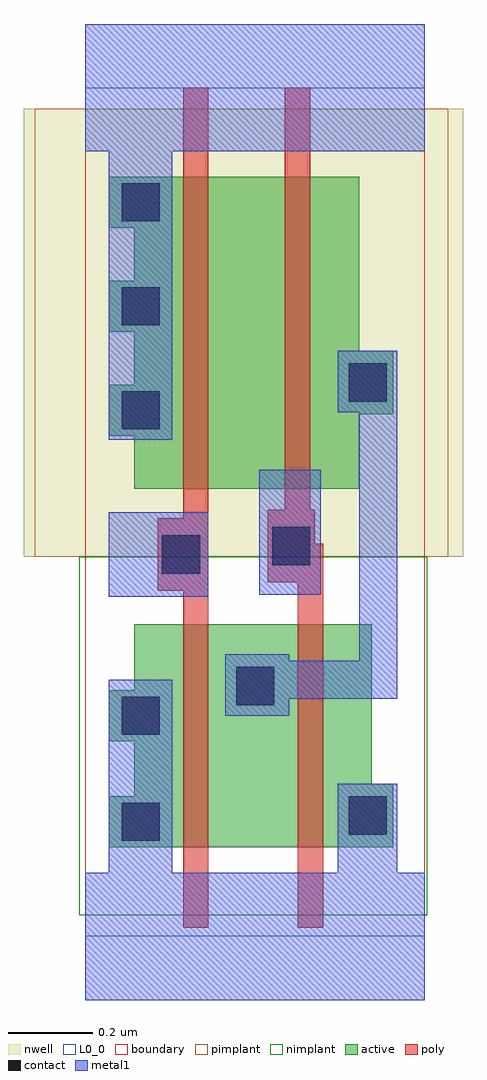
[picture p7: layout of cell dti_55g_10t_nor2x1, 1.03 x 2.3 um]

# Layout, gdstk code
from math import pi, radians
import gdstk
lib = gdstk.Library(unit=1e-6, precision=1e-09)
def R(c, l, rs):  # rectangles x0, y0, x1, y1
    for r in rs: c.add(gdstk.rectangle(r[:2], r[2:], *l))
L0_0 = (0, 0)
nwell = (3, 0)
active = (6, 0)
poly = (17, 0)
pimplant = (25, 0)
nimplant = (26, 0)
contact = (30, 0)
metal1 = (31, 0)
boundary = (108, 0)
L923_0 = (923, 0)

template_55g_10t = lib.new_cell('template_55g_10t')
R(template_55g_10t, metal1, [(0,-0.15,0.2,0.15), (0,1.85,0.2,2.15)])
template_55g_10t.add(gdstk.FlexPath([(0.2,0.21),(0,0.21)], 0, ends="flush", simple_path=True, layer=923, datatype=0))  # L923_0
template_55g_10t.add(gdstk.FlexPath([(0.2,0.735),(0,0.735)], 0, ends="flush", simple_path=True, layer=923, datatype=0))  # L923_0
template_55g_10t.add(gdstk.FlexPath([(0.2,0.895),(0,0.895)], 0, ends="flush", simple_path=True, layer=923, datatype=0))  # L923_0
template_55g_10t.add(gdstk.FlexPath([(0.2,1.055),(0,1.055)], 0, ends="flush", simple_path=True, layer=923, datatype=0))  # L923_0
template_55g_10t.add(gdstk.FlexPath([(0.2,1.79),(0,1.79)], 0, ends="flush", simple_path=True, layer=923, datatype=0))  # L923_0

cellgrid_nom2 = lib.new_cell('cellgrid_noM2')
R(cellgrid_nom2, L0_0, [(0,0,0.2,0.2)])
cellgrid_nom2.add(gdstk.FlexPath([(0.2,0),(0,0.2)], 0, ends="flush", simple_path=True, layer=0, datatype=0))  # L0_0
cellgrid_nom2.add(gdstk.FlexPath([(0.2,0.2),(0,0)], 0, ends="flush", simple_path=True, layer=0, datatype=0))  # L0_0

pmos_735_n_2 = lib.new_cell('pmos_735_n_2')
R(pmos_735_n_2, nwell, [(-0.275,-0.16,0.335,0.895)])
R(pmos_735_n_2, active, [(-0.115,0,0.175,0.735)])
R(pmos_735_n_2, poly, [(0,-0.14,0.06,0.875)])
R(pmos_735_n_2, pimplant, [(-0.245,-0.16,0.305,0.895)])

nmos_525_n_2 = lib.new_cell('nmos_525_n_2')
R(nmos_525_n_2, active, [(-0.115,0,0.175,0.525)])
R(nmos_525_n_2, poly, [(0,-0.14,0.06,0.665)])
R(nmos_525_n_2, nimplant, [(-0.245,-0.16,0.305,0.685)])

cnt_n = lib.new_cell('cnt_n')
R(cnt_n, active, [(-0.06,-0.075,0.06,0.075)])
R(cnt_n, contact, [(-0.045,-0.045,0.045,0.045)])
R(cnt_n, metal1, [(-0.045,-0.045,0.045,0.045)])

cnt = lib.new_cell('cnt')
R(cnt, contact, [(-0.045,-0.045,0.045,0.045)])
R(cnt, metal1, [(-0.045,-0.045,0.045,0.045)])

pcnt_v = lib.new_cell('pcnt_v')
R(pcnt_v, poly, [(-0.055,-0.085,0.055,0.085)])
pcnt_v.add(gdstk.Reference(cnt, (0,0)))

dti_55g_10t_nor2x1 = lib.new_cell('dti_55g_10t_nor2x1')
R(dti_55g_10t_nor2x1, nwell, [(-0.145,0.895,0.89,1.95)])
R(dti_55g_10t_nor2x1, poly, [(0.23,0.02,0.29,0.07), (0.5,0.02,0.56,0.07), (0.23,0.875,0.29,0.915), (0.47,0.875,0.56,0.925), (0.23,1.93,0.29,2), (0.47,1.93,0.53,2)])
R(dti_55g_10t_nor2x1, pimplant, [(-0.12,0.895,0.855,1.95)])
R(dti_55g_10t_nor2x1, metal1, [(0.055,0.15,0.205,0.605), (0.595,0.15,0.735,0.36), (0.33,0.52,0.48,0.665), (0.48,0.56,0.735,0.65), (0.645,0.65,0.735,1.235), (0.055,0.8,0.29,1), (0.41,0.805,0.555,1.1), (0.055,1.17,0.205,1.85), (0.595,1.235,0.735,1.38)])
R(dti_55g_10t_nor2x1, boundary, [(0,-0.15,0.8,2.15)])
r = gdstk.Reference(template_55g_10t, (0,0)); r.repetition = gdstk.Repetition(4, 1, v1=(0.2,0), v2=(0,0)); dti_55g_10t_nor2x1.add(r)
r = gdstk.Reference(cellgrid_nom2, (0,0)); r.repetition = gdstk.Repetition(4, 10, v1=(0.2,0), v2=(0,0.2)); dti_55g_10t_nor2x1.add(r)
dti_55g_10t_nor2x1.add(gdstk.Reference(pmos_735_n_2, (0.23,1.055)))
dti_55g_10t_nor2x1.add(gdstk.Reference(pmos_735_n_2, (0.47,1.055)))
dti_55g_10t_nor2x1.add(gdstk.Reference(nmos_525_n_2, (0.23,0.21)))
dti_55g_10t_nor2x1.add(gdstk.Reference(nmos_525_n_2, (0.5,0.21)))
dti_55g_10t_nor2x1.add(gdstk.Reference(cnt_n, (0.13,1.73), rotation=pi/2))
dti_55g_10t_nor2x1.add(gdstk.Reference(cnt_n, (0.13,1.485), rotation=pi/2))
dti_55g_10t_nor2x1.add(gdstk.Reference(cnt_n, (0.13,1.24), rotation=pi/2))
dti_55g_10t_nor2x1.add(gdstk.Reference(cnt_n, (0.13,0.27), rotation=pi/2))
dti_55g_10t_nor2x1.add(gdstk.Reference(cnt_n, (0.13,0.52), rotation=pi/2))
dti_55g_10t_nor2x1.add(gdstk.Reference(cnt_n, (0.665,0.285), rotation=pi))
dti_55g_10t_nor2x1.add(gdstk.Reference(cnt_n, (0.4,0.59), rotation=pi))
dti_55g_10t_nor2x1.add(gdstk.Reference(cnt_n, (0.665,1.305), rotation=pi))
dti_55g_10t_nor2x1.add(gdstk.Reference(pcnt_v, (0.225,0.9), rotation=pi))
dti_55g_10t_nor2x1.add(gdstk.Reference(pcnt_v, (0.485,0.92)))

lib.write_gds('dti_55g_10t_nor2x1.gds')
